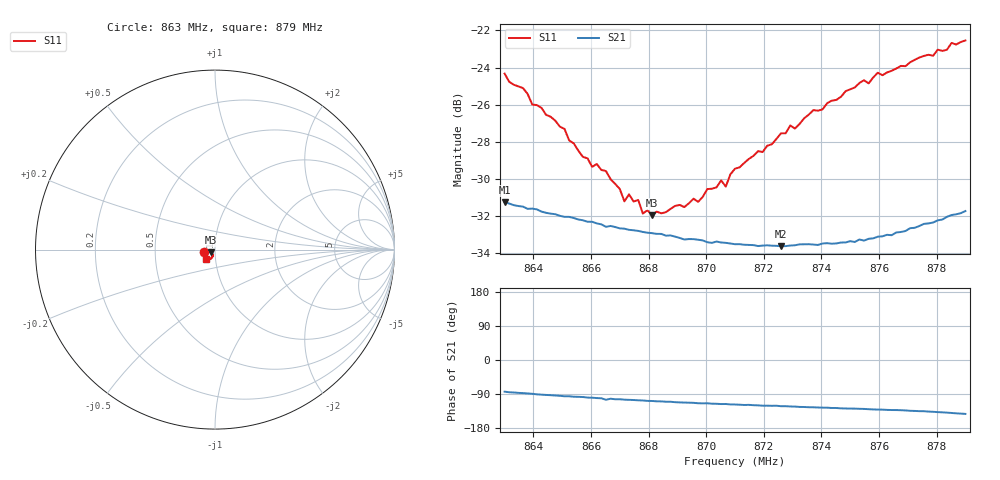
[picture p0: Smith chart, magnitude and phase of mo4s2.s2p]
# HZ S RI R 50
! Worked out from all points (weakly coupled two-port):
!   101 points, 863 MHz to 879 MHz, reference 50 ohm
!   highest |S21| = -31.26 dB at 863 MHz (marker M1); lowest = -33.6 dB at 872.6 MHz (marker M2)
!   lowest |S11| = -32.0 dB at 868.12 MHz (marker M3), VSWR 1.05, Z = 48 - j1.45 ohm
!   |S11| at or under -10 dB: start of sweep to end of sweep
!   S12 and S22 are empty: the file has one direction only
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8.63e8  -0.0586 -0.016  0.00308 -0.0272  0 0  0 0
8.6364e8  -0.0539 -0.0136  0.00123 -0.0266  0 0  0 0
8.6396e8  -0.0489 -0.0112  0.000379 -0.0263  0 0  0 0
8.6508e8  -0.0415 -0.0115  -0.0025 -0.0249  0 0  0 0
8.6572e8  -0.0346 -0.0109  -0.00328 -0.0242  0 0  0 0
8.6652e8  -0.0307 -0.0127  -0.00607 -0.0227  0 0  0 0
8.6716e8  -0.0248 -0.0119  -0.00588 -0.0225  0 0  0 0
8.6732e8  -0.0255 -0.0132  -0.00602 -0.0222  0 0  0 0
8.6764e8  -0.0235 -0.0148  -0.00646 -0.022  0 0  0 0
8.678e8  -0.0215 -0.0137  -0.00658 -0.0218  0 0  0 0
8.6812e8  -0.0202 -0.0151  -0.00703 -0.0214  0 0  0 0
8.6844e8  -0.0189 -0.0172  -0.00741 -0.0212  0 0  0 0
8.6972e8  -0.0146 -0.0232  -0.00886 -0.0198  0 0  0 0
8.7052e8  -0.0131 -0.0285  -0.00943 -0.0191  0 0  0 0
8.7068e8  -0.0124 -0.0275  -0.00935 -0.0191  0 0  0 0
8.71e8  -0.0143 -0.0305  -0.0097 -0.0187  0 0  0 0
8.726e8  -0.0147 -0.0393  -0.011 -0.0177  0 0  0 0
8.7308e8  -0.0147 -0.0406  -0.0114 -0.0176  0 0  0 0
8.7372e8  -0.0162 -0.0457  -0.012 -0.0173  0 0  0 0
8.7596e8  -0.0287 -0.054  -0.0144 -0.0167  0 0  0 0
8.7644e8  -0.0315 -0.0533  -0.0149 -0.0166  0 0  0 0
8.79e8  -0.0507 -0.0548  -0.0205 -0.0158  0 0  0 0
